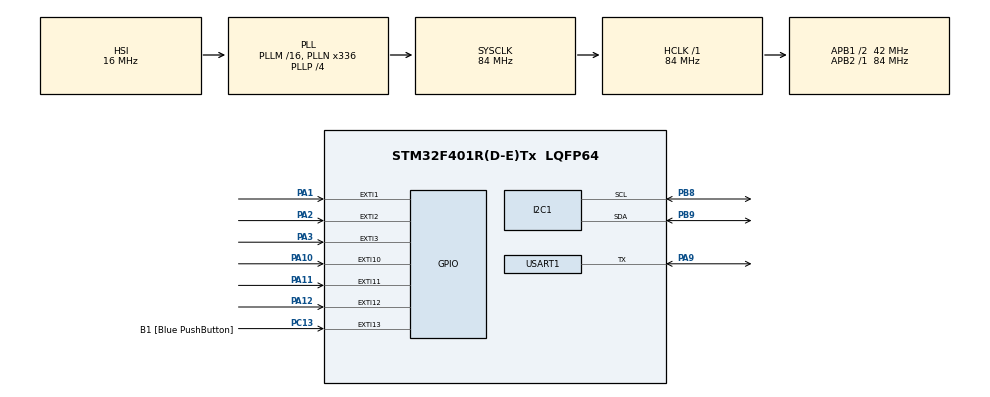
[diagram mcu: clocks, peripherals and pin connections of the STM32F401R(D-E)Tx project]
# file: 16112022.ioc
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Mcu.Family=STM32F4
Mcu.Name=STM32F401R(D-E)Tx
Mcu.Package=LQFP64
NVIC.EXTI15_10_IRQn=true\:0\:0\:false\:false\:true\:true\:true\:true
NVIC.EXTI1_IRQn=true\:0\:0\:false\:false\:true\:true\:true\:true
NVIC.EXTI2_IRQn=true\:0\:0\:false\:false\:true\:true\:true\:true
NVIC.EXTI3_IRQn=true\:0\:0\:false\:false\:true\:true\:true\:true
NVIC.PriorityGroup=NVIC_PRIORITYGROUP_0
NVIC.USART1_IRQn=true\:0\:0\:false\:false\:true\:true\:true\:true
PA1.Signal=GPXTI1
PA10.Signal=GPXTI10
PA11.Signal=GPXTI11
PA12.Signal=GPXTI12
PA13.GPIO_Label=TMS
PA13.Mode=Serial_Wire
PA13.Signal=SYS_JTMS-SWDIO
PA14.GPIO_Label=TCK
PA14.Mode=Serial_Wire
PA14.Signal=SYS_JTCK-SWCLK
PA2.Signal=GPXTI2
PA3.Signal=GPXTI3
PA9.Mode=Half_duplex(single_wire_mode)
PA9.Signal=USART1_TX
PB3.GPIO_Label=SWO
PB3.Signal=SYS_JTDO-SWO
PB8.Mode=I2C
PB8.Signal=I2C1_SCL
PB9.Mode=I2C
PB9.Signal=I2C1_SDA
PC13-ANTI_TAMP.GPIO_Label=B1 [Blue PushButton]
PC13-ANTI_TAMP.GPIO_ModeDefaultEXTI=GPIO_MODE_IT_FALLING
PC13-ANTI_TAMP.GPIO_PuPd=GPIO_NOPULL
PC13-ANTI_TAMP.Signal=GPXTI13
PC14-OSC32_IN.Signal=RCC_OSC32_IN
PC15-OSC32_OUT.Signal=RCC_OSC32_OUT
PH0\ -\ OSC_IN.Mode=HSE-External-Oscillator
PH0\ -\ OSC_IN.Signal=RCC_OSC_IN
PH1\ -\ OSC_OUT.Mode=HSE-External-Oscillator
PH1\ -\ OSC_OUT.Signal=RCC_OSC_OUT
ProjectManager.HeapSize=0x200
ProjectManager.StackSize=0x400
ProjectManager.TargetToolchain=STM32CubeIDE
RCC.48MHZClocksFreq_Value=48000000
RCC.AHBFreq_Value=84000000
RCC.APB1CLKDivider=RCC_HCLK_DIV2
RCC.APB1Freq_Value=42000000
RCC.APB1TimFreq_Value=84000000
RCC.APB2Freq_Value=84000000
RCC.APB2TimFreq_Value=84000000
RCC.CortexFreq_Value=84000000
RCC.HCLKFreq_Value=84000000
RCC.HSE_VALUE=8000000
RCC.HSI_VALUE=16000000
RCC.LSE_VALUE=32768
RCC.PLLN=336
RCC.PLLP=RCC_PLLP_DIV4
RCC.PLLQ=7
RCC.SYSCLKFreq_VALUE=84000000
RCC.SYSCLKSource=RCC_SYSCLKSOURCE_PLLCLK
RCC.VCOOutputFreq_Value=336000000
USART1.VirtualMode=VM_ASYNC
board=NUCLEO-F401RE

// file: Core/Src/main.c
/* USER CODE BEGIN Header */
/**
  ******************************************************************************
  * @file           : main.c
  * @brief          : Main program body
  ******************************************************************************
  * @attention
  *
  * Copyright (c) 2022 STMicroelectronics.
  * All rights reserved.
  *
  * This software is licensed under terms that can be found in the LICENSE file
  * in the root directory of this software component.
  * If no LICENSE file comes with this software, it is provided AS-IS.
  *
  ******************************************************************************
  */
/* USER CODE END Header */
#include "main.h"
#include"stdio.h"
#include"math.h"

/* USER CODE BEGIN Includes */
#include "Onewire.h"
#include "i2c-lcd.h"

/* USER CODE END Includes */

I2C_HandleTypeDef hi2c1;

UART_HandleTypeDef huart1;

/* USER CODE BEGIN PV */
uint32_t previousMillis = 0;
uint32_t currentMillis = 0;
float n_layers = 2; //2
float thickness = 0.01; //meters 0.01
float glass_tc = 1.1;   // 1.1
float width = 1;
float height = 1;
float area = 1;     //m2 1
float electricity_rate = 0.113;    // $/kwh 0.113
float float_time = 0;

/* USER CODE END PV */

void SystemClock_Config(void);
static void MX_GPIO_Init(void);
static void MX_I2C1_Init(void);
static void MX_USART1_UART_Init(void);

/* USER CODE BEGIN 0 */
extern float Temp[MAXDEVICES_ON_THE_BUS];
int row = 0;
int col = 0;
int step = 0; //0 : n layers, 1: width, 2: height, 3: thickness, 4: electricity rate, 5: done
float value = 0;

/* USER CODE END 0 */

int main(void)
{

  /* MCU Configuration--------------------------------------------------------*/

  /* Reset of all peripherals, Initializes the Flash interface and the Systick. */
  HAL_Init();

  /* Configure the system clock */
  SystemClock_Config();

  /* Initialize all configured peripherals */
  MX_GPIO_Init();
  MX_I2C1_Init();
  MX_USART1_UART_Init();
  /* USER CODE BEGIN 2 */

  get_ROMid();

  lcd_init();
  char heat_loss[7];
  char money_loss[7];
  float n_heat;
  char value[5];
  lcd_send_string("Enter num panes: ");
  lcd_put_cur(1,0);
  gcvt(n_layers, 4, value);
  lcd_send_string(value);

  float resistance_total = 0.17 + n_layers*thickness/glass_tc + 0.18*(n_layers-1);
  float u_value = 1/resistance_total;
  float float_money;

 float time_1 = 0;
 float time_2 = 0;
 float diff_time = 0;

  /* USER CODE END 2 */

  /* Infinite loop */
  while (1)
  {

    /* USER CODE BEGIN 3 */

	 lcd_put_cur(1,0);

	 if (step == 1){
	 	lcd_clear();
	 	lcd_put_cur(0,0);
	 	lcd_send_string("Enter width: ");
	 	lcd_put_cur(1,0);
	 	gcvt(width, 4, value);
	 	lcd_send_string(value);
	 	lcd_send_string(" m");
	 	HAL_Delay(1000);
	 }
	 else if (step == 2){
	 	lcd_clear();
	 	lcd_put_cur(0,0);
	 	lcd_send_string("Enter height: ");
	 	lcd_put_cur(1,0);
	 	gcvt(height, 4, value);
	 	lcd_send_string(value);
	 	lcd_send_string(" m");
	 	HAL_Delay(1000);
	 }
	 else if (step == 3){
	 	lcd_clear();
	 	lcd_put_cur(0,0);
	 	lcd_send_string("Enter spacing: ");
	 	gcvt(thickness, 4, value);
	 	lcd_put_cur(1,0);
	 	lcd_send_string(value);
	 	lcd_send_string(" m");
	 	HAL_Delay(1000);
	 }
	 else if (step == 4){
		 lcd_clear();
		 lcd_put_cur(0,0);
		 lcd_send_string("Enter elec. ");
		 gcvt(electricity_rate, 4, value);
		 lcd_put_cur(1,0);
		 lcd_send_string("rate ");
		 lcd_send_string(value);
		 lcd_send_string(" $/kWh");
		 HAL_Delay(1000);
	 }
	 else if (step >=5){
		 lcd_clear();
		 lcd_put_cur(0,0);
		 get_Temperature();
		 char temp1[7];
		 char temp2[7];
		 gcvt(Temp[0], 6, temp1);
		 lcd_send_string("Temp 1: ");
		 lcd_send_string(temp1);

		 lcd_put_cur(1,0);
		 gcvt(Temp[1], 6, temp2);
		 lcd_send_string("Temp 2: ");
		 lcd_send_string(temp2);
		 HAL_Delay(3000);

		 time_1 = HAL_GetTick()/1000;
		 diff_time = time_1 - time_2;

		 //display the energy lost in W then the amount of money lost
		 get_Temperature();
		 lcd_clear();
		 n_heat += u_value * area * fabs(0-23) * (diff_time) *0.00027778; //put temp[0] instead of 0
		 gcvt(n_heat, 4, heat_loss);
		 lcd_put_cur(0,0);
		 lcd_send_string("Energy loss: ");
		 lcd_put_cur(1,0);
		 lcd_send_string(heat_loss);
		 lcd_send_string(" Wh");
		 HAL_Delay(3000);

		 lcd_clear();
		 float_money += n_heat*electricity_rate * 0.001;
		 gcvt(float_money, 4, money_loss);
		 lcd_put_cur(0,0);
		 lcd_send_string("Money lost: ");
		 lcd_put_cur(1,0);
		 lcd_send_string(money_loss);
		 lcd_send_string(" $");
		 HAL_Delay(3000);

		 time_2 = time_1;
	 }

  }
  /* USER CODE END 3 */
}

void SystemClock_Config(void)
{
  RCC_OscInitTypeDef RCC_OscInitStruct = {0};
  RCC_ClkInitTypeDef RCC_ClkInitStruct = {0};

  /** Configure the main internal regulator output voltage
  */
  __HAL_RCC_PWR_CLK_ENABLE();
  __HAL_PWR_VOLTAGESCALING_CONFIG(PWR_REGULATOR_VOLTAGE_SCALE2);

  /** Initializes the RCC Oscillators according to the specified parameters
  * in the RCC_OscInitTypeDef structure.
  */
  RCC_OscInitStruct.OscillatorType = RCC_OSCILLATORTYPE_HSI;
  RCC_OscInitStruct.HSIState = RCC_HSI_ON;
  RCC_OscInitStruct.HSICalibrationValue = RCC_HSICALIBRATION_DEFAULT;
  RCC_OscInitStruct.PLL.PLLState = RCC_PLL_ON;
  RCC_OscInitStruct.PLL.PLLSource = RCC_PLLSOURCE_HSI;
  RCC_OscInitStruct.PLL.PLLM = 16;
  RCC_OscInitStruct.PLL.PLLN = 336;
  RCC_OscInitStruct.PLL.PLLP = RCC_PLLP_DIV4;
  RCC_OscInitStruct.PLL.PLLQ = 7;
  if (HAL_RCC_OscConfig(&RCC_OscInitStruct) != HAL_OK)
  {
    Error_Handler();
  }

  /** Initializes the CPU, AHB and APB buses clocks
  */
  RCC_ClkInitStruct.ClockType = RCC_CLOCKTYPE_HCLK|RCC_CLOCKTYPE_SYSCLK
                              |RCC_CLOCKTYPE_PCLK1|RCC_CLOCKTYPE_PCLK2;
  RCC_ClkInitStruct.SYSCLKSource = RCC_SYSCLKSOURCE_PLLCLK;
  RCC_ClkInitStruct.AHBCLKDivider = RCC_SYSCLK_DIV1;
  RCC_ClkInitStruct.APB1CLKDivider = RCC_HCLK_DIV2;
  RCC_ClkInitStruct.APB2CLKDivider = RCC_HCLK_DIV1;

  if (HAL_RCC_ClockConfig(&RCC_ClkInitStruct, FLASH_LATENCY_2) != HAL_OK)
  {
    Error_Handler();
  }
}

static void MX_I2C1_Init(void)
{

  hi2c1.Instance = I2C1;
  hi2c1.Init.ClockSpeed = 100000;
  hi2c1.Init.DutyCycle = I2C_DUTYCYCLE_2;
  hi2c1.Init.OwnAddress1 = 0;
  hi2c1.Init.AddressingMode = I2C_ADDRESSINGMODE_7BIT;
  hi2c1.Init.DualAddressMode = I2C_DUALADDRESS_DISABLE;
  hi2c1.Init.OwnAddress2 = 0;
  hi2c1.Init.GeneralCallMode = I2C_GENERALCALL_DISABLE;
  hi2c1.Init.NoStretchMode = I2C_NOSTRETCH_DISABLE;
  if (HAL_I2C_Init(&hi2c1) != HAL_OK)
  {
    Error_Handler();
  }

}

static void MX_USART1_UART_Init(void)
{

  huart1.Instance = USART1;
  huart1.Init.BaudRate = 115200;
  huart1.Init.WordLength = UART_WORDLENGTH_8B;
  huart1.Init.StopBits = UART_STOPBITS_1;
  huart1.Init.Parity = UART_PARITY_NONE;
  huart1.Init.Mode = UART_MODE_TX_RX;
  huart1.Init.HwFlowCtl = UART_HWCONTROL_NONE;
  huart1.Init.OverSampling = UART_OVERSAMPLING_16;
  if (HAL_HalfDuplex_Init(&huart1) != HAL_OK)
  {
    Error_Handler();
  }

}

static void MX_GPIO_Init(void)
{
  GPIO_InitTypeDef GPIO_InitStruct = {0};

  /* GPIO Ports Clock Enable */
  __HAL_RCC_GPIOC_CLK_ENABLE();
  __HAL_RCC_GPIOH_CLK_ENABLE();
  __HAL_RCC_GPIOA_CLK_ENABLE();
  __HAL_RCC_GPIOB_CLK_ENABLE();

  /*Configure GPIO pin : B1_Pin */
  GPIO_InitStruct.Pin = B1_Pin;
  GPIO_InitStruct.Mode = GPIO_MODE_IT_FALLING;
  GPIO_InitStruct.Pull = GPIO_NOPULL;
  HAL_GPIO_Init(B1_GPIO_Port, &GPIO_InitStruct);

  /*Configure GPIO pins : PA1 PA2 PA3 PA10
                           PA11 PA12 */
  GPIO_InitStruct.Pin = GPIO_PIN_1|GPIO_PIN_2|GPIO_PIN_3|GPIO_PIN_10
                          |GPIO_PIN_11|GPIO_PIN_12;
  GPIO_InitStruct.Mode = GPIO_MODE_IT_RISING;
  GPIO_InitStruct.Pull = GPIO_NOPULL;
  HAL_GPIO_Init(GPIOA, &GPIO_InitStruct);

  /* EXTI interrupt init*/
  HAL_NVIC_SetPriority(EXTI1_IRQn, 0, 0);
  HAL_NVIC_EnableIRQ(EXTI1_IRQn);

  HAL_NVIC_SetPriority(EXTI2_IRQn, 0, 0);
  HAL_NVIC_EnableIRQ(EXTI2_IRQn);

  HAL_NVIC_SetPriority(EXTI3_IRQn, 0, 0);
  HAL_NVIC_EnableIRQ(EXTI3_IRQn);

  HAL_NVIC_SetPriority(EXTI15_10_IRQn, 0, 0);
  HAL_NVIC_EnableIRQ(EXTI15_10_IRQn);

}

/* USER CODE BEGIN 4 */
void HAL_GPIO_EXTI_Callback(uint16_t GPIO_Pin)
{
	//lcd_send_string("detected");
	currentMillis = HAL_GetTick();
	char value[5];
	if (GPIO_Pin == GPIO_PIN_1 && (currentMillis - previousMillis > 300))
	{
		//lcd_send_string("wow");
		previousMillis = currentMillis;
		lcd_put_cur(0,0);
		step ++;
	}
}

/* USER CODE END 4 */

void Error_Handler(void)
{
  __disable_irq();
  while (1)
  {
  }
}
